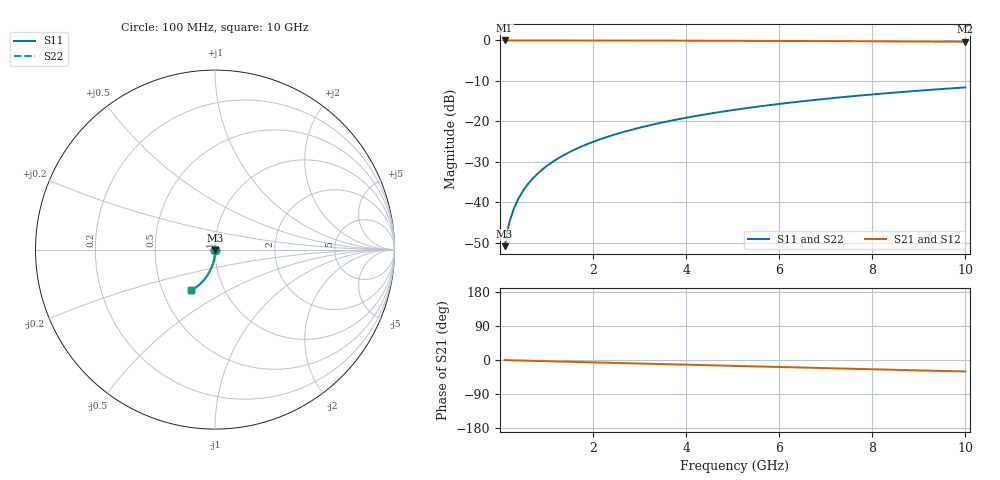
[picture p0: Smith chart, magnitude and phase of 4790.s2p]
# Hz S RI R 50.00
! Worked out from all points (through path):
!   100 points, 100 MHz to 10 GHz, reference 50 ohm
!   highest |S21| = -0.01 dB at 100 MHz (marker M1); lowest = -0.3 dB at 10 GHz (marker M2)
!   group delay of S21, straight-line fit = 8.44 ps
!   lowest |S11| = -50.8 dB at 100 MHz (marker M3), VSWR 1.01, Z = 50.1 - j0.281 ohm
!   |S11| at or under -10 dB: start of sweep to end of sweep
!   |S22| runs from -50.8 to -11.6 dB; largest |S21 - S12| = 0
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1e8  0.000679 -0.00281  0.9993 -0.00538  0.9993 -0.00538  0.000679 -0.00281
2e8  0.000634 -0.00562  0.9992 -0.0108  0.9992 -0.0108  0.000634 -0.00562
3e8  0.000558 -0.00842  0.9991 -0.0162  0.9991 -0.0162  0.000558 -0.00842
4e8  0.000451 -0.0112  0.999 -0.0215  0.999 -0.0215  0.000451 -0.0112
5e8  0.000314 -0.014  0.9988 -0.0269  0.9988 -0.0269  0.000314 -0.014
6e8  0.000146 -0.0168  0.9986 -0.0323  0.9986 -0.0323  0.000146 -0.0168
7e8  -5.24e-05 -0.0196  0.9984 -0.0377  0.9984 -0.0377  -5.24e-05 -0.0196
8e8  -0.000281 -0.0224  0.9981 -0.043  0.9981 -0.043  -0.000281 -0.0224
9e8  -0.00054 -0.0252  0.9978 -0.0484  0.9978 -0.0484  -0.00054 -0.0252
1.1e9  -0.00115 -0.0308  0.997 -0.0592  0.997 -0.0592  -0.00115 -0.0308
1.4e9  -0.00229 -0.0392  0.9956 -0.0752  0.9956 -0.0752  -0.00229 -0.0392
1.8e9  -0.00422 -0.0502  0.9932 -0.0966  0.9932 -0.0966  -0.00422 -0.0502
2.1e9  -0.00598 -0.0585  0.9911 -0.1126  0.9911 -0.1126  -0.00598 -0.0585
2.5e9  -0.00874 -0.0693  0.9877 -0.1338  0.9877 -0.1338  -0.00874 -0.0693
2.9e9  -0.012 -0.0801  0.9837 -0.1548  0.9837 -0.1548  -0.012 -0.0801
3.4e9  -0.0166 -0.0932  0.978 -0.1809  0.978 -0.1809  -0.0166 -0.0932
4.2e9  -0.0255 -0.1137  0.9671 -0.2221  0.9671 -0.2221  -0.0255 -0.1137
5.1e9  -0.0375 -0.1357  0.9522 -0.2673  0.9522 -0.2673  -0.0375 -0.1357
5.9e9  -0.0498 -0.1541  0.9369 -0.3064  0.9369 -0.3064  -0.0498 -0.1541
6.7e9  -0.0636 -0.1713  0.9197 -0.3444  0.9197 -0.3444  -0.0636 -0.1713
8.4e9  -0.0969 -0.2033  0.8775 -0.4207  0.8775 -0.4207  -0.0969 -0.2033
1e10  -0.1324 -0.2273  0.8317 -0.4864  0.8317 -0.4864  -0.1324 -0.2273
